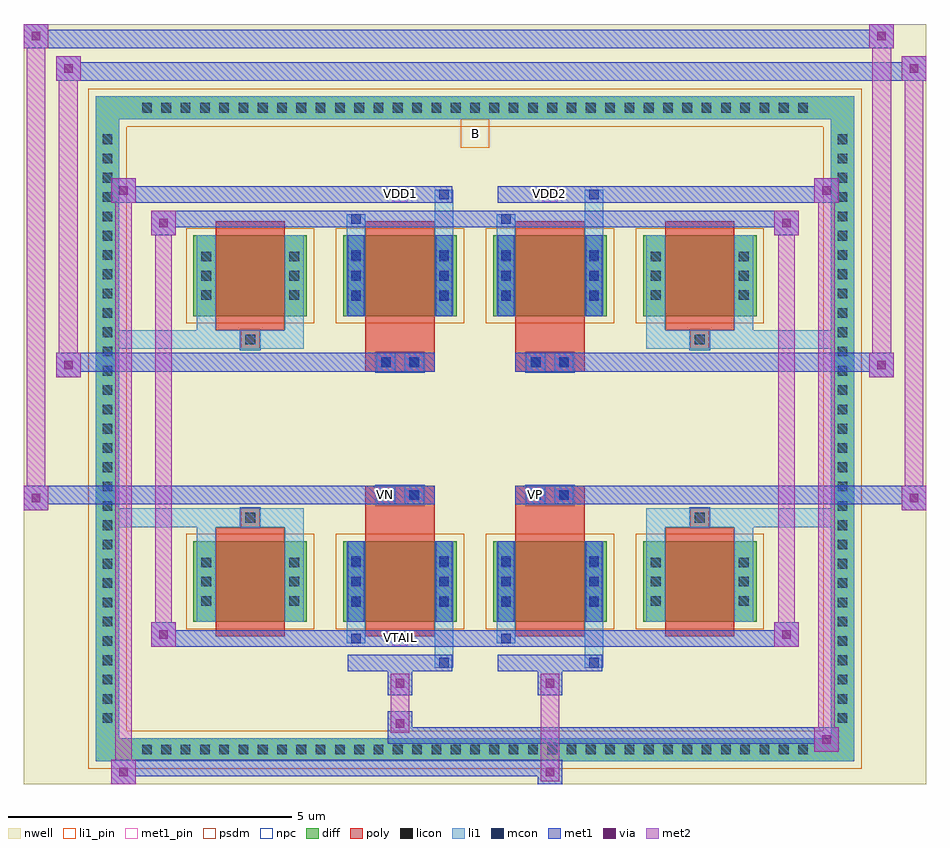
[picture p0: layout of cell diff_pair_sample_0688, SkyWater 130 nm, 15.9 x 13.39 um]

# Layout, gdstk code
import gdstk
lib = gdstk.Library(unit=1e-6, precision=5e-09)
def R(c, l, rs):  # rectangles x0, y0, x1, y1
    for r in rs: c.add(gdstk.rectangle(r[:2], r[2:], *l))
def A(c, l, x, y, w, h, nx, ny, dx, dy):  # array of equal rectangles
    R(c, l, [(x+i*dx, y+j*dy, x+i*dx+w, y+j*dy+h) for i in range(nx) for j in range(ny)])
def P(c, l, *ps):  # polygons
    for p in ps: c.add(gdstk.Polygon(p, *l))
nwell = (64, 20)
diff = (65, 20)
poly = (66, 20)
licon = (66, 44)
li1_pin = (67, 16)
li1 = (67, 20)
mcon = (67, 44)
met1_pin = (68, 16)
met1 = (68, 20)
via = (68, 44)
met2 = (69, 20)
psdm = (94, 20)
npc = (95, 20)

diff_pair_sample_0688 = lib.new_cell('diff_pair_sample_0688')
R(diff_pair_sample_0688, nwell, [(-7.95,-6.26,7.95,7.13), (-5.27,-4.45,-0.01,-0.805), (0.01,-4.45,5.27,-0.805), (-5.27,0.805,-0.01,4.45), (0.01,0.805,5.27,4.45)])
A(diff_pair_sample_0688, diff, -5.985, -5.86, 0.41, 0.41, 35, 2, 0.34, 11.31)
A(diff_pair_sample_0688, diff, -6.68, -5.305, 0.41, 0.41, 1, 31, 0, 0.34)
A(diff_pair_sample_0688, diff, 6.27, -5.305, 0.41, 0.41, 1, 31, 0, 0.34)
A(diff_pair_sample_0688, diff, -4.96, -3.405, 2, 1.42, 4, 2, 2.64, 5.39)
R(diff_pair_sample_0688, diff, [(-5.985,-5.86,5.985,-5.45), (-6.68,-5.305,-6.27,5.305), (6.27,-5.305,6.68,5.305), (-5.985,5.45,5.985,5.86)])
P(diff_pair_sample_0688, diff, [(6.68,5.86),(-6.68,5.86),(-6.68,-5.45),(-6.27,-5.45),(-6.27,5.45),(6.27,5.45),(6.27,-5.45),(-6.27,-5.45),(-6.68,-5.45),(-6.68,-5.86),(6.68,-5.86)])
A(diff_pair_sample_0688, poly, -4.57, -3.655, 1.22, 1.92, 4, 2, 2.64, 5.39)
R(diff_pair_sample_0688, poly, [(-4.125,-1.735,-3.795,-1.405), (-4.125,-1.735,-3.795,-1.405), (-1.93,-1.735,-0.71,-1.335), (0.71,-1.735,1.93,-1.335), (3.795,-1.735,4.125,-1.405), (3.795,-1.735,4.125,-1.405), (-1.93,-1.335,-0.71,-1.005), (-1.735,-1.335,-1.405,-1.005), (-1.235,-1.335,-0.905,-1.005), (0.71,-1.335,1.93,-1.005), (0.905,-1.335,1.235,-1.005), (1.405,-1.335,1.735,-1.005), (-1.93,1.005,-0.71,1.335), (-1.735,1.005,-1.405,1.335), (-1.235,1.005,-0.905,1.335), (0.71,1.005,1.93,1.335), (0.905,1.005,1.235,1.335), (1.405,1.005,1.735,1.335), (-1.93,1.335,-0.71,1.735), (0.71,1.335,1.93,1.735), (-4.125,1.405,-3.795,1.735), (-4.125,1.405,-3.795,1.735), (3.795,1.405,4.125,1.735), (3.795,1.405,4.125,1.735)])
A(diff_pair_sample_0688, licon, -5.865, -5.74, 0.17, 0.17, 35, 2, 0.34, 11.31)
A(diff_pair_sample_0688, licon, -6.56, -5.185, 0.17, 0.17, 1, 31, 0, 0.34)
A(diff_pair_sample_0688, licon, 6.39, -5.185, 0.17, 0.17, 1, 31, 0, 0.34)
A(diff_pair_sample_0688, licon, -4.82, -3.12, 0.17, 0.17, 1, 3, 0, 0.34)
A(diff_pair_sample_0688, licon, -3.27, -3.12, 0.17, 0.17, 1, 3, 0, 0.34)
A(diff_pair_sample_0688, licon, -2.18, -3.12, 0.17, 0.17, 1, 3, 0, 0.34)
A(diff_pair_sample_0688, licon, -0.63, -3.12, 0.17, 0.17, 1, 3, 0, 0.34)
A(diff_pair_sample_0688, licon, 0.46, -3.12, 0.17, 0.17, 1, 3, 0, 0.34)
A(diff_pair_sample_0688, licon, 2.01, -3.12, 0.17, 0.17, 1, 3, 0, 0.34)
A(diff_pair_sample_0688, licon, 3.1, -3.12, 0.17, 0.17, 1, 3, 0, 0.34)
A(diff_pair_sample_0688, licon, 4.65, -3.12, 0.17, 0.17, 1, 3, 0, 0.34)
A(diff_pair_sample_0688, licon, -4.82, 2.27, 0.17, 0.17, 1, 3, 0, 0.34)
A(diff_pair_sample_0688, licon, -3.27, 2.27, 0.17, 0.17, 1, 3, 0, 0.34)
A(diff_pair_sample_0688, licon, -2.18, 2.27, 0.17, 0.17, 1, 3, 0, 0.34)
A(diff_pair_sample_0688, licon, -0.63, 2.27, 0.17, 0.17, 1, 3, 0, 0.34)
A(diff_pair_sample_0688, licon, 0.46, 2.27, 0.17, 0.17, 1, 3, 0, 0.34)
A(diff_pair_sample_0688, licon, 2.01, 2.27, 0.17, 0.17, 1, 3, 0, 0.34)
A(diff_pair_sample_0688, licon, 3.1, 2.27, 0.17, 0.17, 1, 3, 0, 0.34)
A(diff_pair_sample_0688, licon, 4.65, 2.27, 0.17, 0.17, 1, 3, 0, 0.34)
R(diff_pair_sample_0688, licon, [(-4.045,-1.655,-3.875,-1.485), (3.875,-1.655,4.045,-1.485), (-1.655,-1.255,-1.485,-1.085), (-1.155,-1.255,-0.985,-1.085), (0.985,-1.255,1.155,-1.085), (1.485,-1.255,1.655,-1.085), (-1.655,1.085,-1.485,1.255), (-1.155,1.085,-0.985,1.255), (0.985,1.085,1.155,1.255), (1.485,1.085,1.655,1.255), (-4.045,1.485,-3.875,1.655), (3.875,1.485,4.045,1.655)])
R(diff_pair_sample_0688, li1_pin, [(-0.25,4.95,0.25,5.45)])
A(diff_pair_sample_0688, li1, -5.945, -5.82, 0.33, 0.33, 35, 2, 0.34, 11.31)
A(diff_pair_sample_0688, li1, -6.64, -5.265, 0.33, 0.33, 1, 31, 0, 0.34)
A(diff_pair_sample_0688, li1, 6.31, -5.265, 0.33, 0.33, 1, 31, 0, 0.34)
A(diff_pair_sample_0688, li1, -4.9, -3.2, 0.33, 0.33, 1, 3, 0, 0.34)
A(diff_pair_sample_0688, li1, -3.35, -3.2, 0.33, 0.33, 1, 3, 0, 0.34)
A(diff_pair_sample_0688, li1, -2.26, -3.2, 0.33, 0.33, 1, 3, 0, 0.34)
A(diff_pair_sample_0688, li1, -0.71, -3.2, 0.33, 0.33, 1, 3, 0, 0.34)
A(diff_pair_sample_0688, li1, 0.38, -3.2, 0.33, 0.33, 1, 3, 0, 0.34)
A(diff_pair_sample_0688, li1, 1.93, -3.2, 0.33, 0.33, 1, 3, 0, 0.34)
A(diff_pair_sample_0688, li1, 3.02, -3.2, 0.33, 0.33, 1, 3, 0, 0.34)
A(diff_pair_sample_0688, li1, 4.57, -3.2, 0.33, 0.33, 1, 3, 0, 0.34)
A(diff_pair_sample_0688, li1, -2.18, -3.14, 0.17, 0.17, 1, 3, 0, 0.36)
A(diff_pair_sample_0688, li1, -0.63, -3.14, 0.17, 0.17, 1, 3, 0, 0.36)
A(diff_pair_sample_0688, li1, 0.46, -3.14, 0.17, 0.17, 1, 3, 0, 0.36)
A(diff_pair_sample_0688, li1, 2.01, -3.14, 0.17, 0.17, 1, 3, 0, 0.36)
A(diff_pair_sample_0688, li1, -4.9, 2.19, 0.33, 0.33, 1, 3, 0, 0.34)
A(diff_pair_sample_0688, li1, -3.35, 2.19, 0.33, 0.33, 1, 3, 0, 0.34)
A(diff_pair_sample_0688, li1, -2.26, 2.19, 0.33, 0.33, 1, 3, 0, 0.34)
A(diff_pair_sample_0688, li1, -0.71, 2.19, 0.33, 0.33, 1, 3, 0, 0.34)
A(diff_pair_sample_0688, li1, 0.38, 2.19, 0.33, 0.33, 1, 3, 0, 0.34)
A(diff_pair_sample_0688, li1, 1.93, 2.19, 0.33, 0.33, 1, 3, 0, 0.34)
A(diff_pair_sample_0688, li1, 3.02, 2.19, 0.33, 0.33, 1, 3, 0, 0.34)
A(diff_pair_sample_0688, li1, 4.57, 2.19, 0.33, 0.33, 1, 3, 0, 0.34)
A(diff_pair_sample_0688, li1, -2.18, 2.25, 0.17, 0.17, 1, 3, 0, 0.36)
A(diff_pair_sample_0688, li1, -0.63, 2.25, 0.17, 0.17, 1, 3, 0, 0.36)
A(diff_pair_sample_0688, li1, 0.46, 2.25, 0.17, 0.17, 1, 3, 0, 0.36)
A(diff_pair_sample_0688, li1, 2.01, 2.25, 0.17, 0.17, 1, 3, 0, 0.36)
R(diff_pair_sample_0688, li1, [(-6.68,-5.86,-6.27,-5.45), (-6.68,-5.86,-6.27,-5.45), (-6.27,-5.86,6.27,-5.45), (6.27,-5.86,6.68,-5.45), (6.27,-5.86,6.68,-5.45), (-6.68,-5.45,-6.27,5.45), (6.27,-5.45,6.68,5.45), (-0.71,-4.21,-0.38,-3.405), (-0.63,-4.21,-0.46,-4.04), (1.93,-4.21,2.26,-3.405), (2.01,-4.21,2.18,-4.04), (-2.26,-3.78,-1.93,-3.405), (-2.18,-3.78,-2.01,-3.61), (0.38,-3.78,0.71,-3.405), (0.46,-3.78,0.63,-3.61), (-4.9,-3.405,-4.57,-1.985), (-3.35,-3.405,-3.02,-1.985), (-2.26,-3.405,-1.93,-1.985), (-0.71,-3.405,-0.38,-1.985), (0.38,-3.405,0.71,-1.985), (1.93,-3.405,2.26,-1.985), (3.02,-3.405,3.35,-1.985), (4.57,-3.405,4.9,-1.985), (-2.18,-3.14,-2.01,-2.25), (-0.63,-3.14,-0.46,-2.25), (0.46,-3.14,0.63,-2.25), (2.01,-3.14,2.18,-2.25), (-4.9,-1.985,-4.57,-1.405), (-3.35,-1.985,-3.02,-1.405), (3.02,-1.985,3.35,-1.405), (4.57,-1.985,4.9,-1.405), (-6.68,-1.735,-4.125,-1.405), (-4.9,-1.735,-4.125,-1.405), (-4.125,-1.735,-3.795,-1.405), (-3.795,-1.735,-3.02,-1.405), (3.02,-1.735,3.795,-1.405), (3.795,-1.735,4.125,-1.405), (3.795,-1.735,6.68,-1.405), (4.125,-1.735,4.9,-1.405), (-1.735,-1.335,-1.405,-1.005), (-1.235,-1.335,-0.905,-1.005), (0.905,-1.335,1.235,-1.005), (1.405,-1.335,1.735,-1.005), (-1.735,1.005,-1.405,1.335), (-1.235,1.005,-0.905,1.335), (0.905,1.005,1.235,1.335), (1.405,1.005,1.735,1.335), (-6.68,1.405,-4.125,1.735), (-4.9,1.405,-4.125,1.735), (-4.9,1.405,-4.57,1.985), (-4.125,1.405,-3.795,1.735), (-3.795,1.405,-3.02,1.735), (-3.35,1.405,-3.02,1.985), (3.02,1.405,3.795,1.735), (3.02,1.405,3.35,1.985), (3.795,1.405,4.125,1.735), (3.795,1.405,6.68,1.735), (4.125,1.405,4.9,1.735), (4.57,1.405,4.9,1.985), (-4.9,1.985,-4.57,3.405), (-3.35,1.985,-3.02,3.405), (-2.26,1.985,-1.93,3.405), (-0.71,1.985,-0.38,3.405), (0.38,1.985,0.71,3.405), (1.93,1.985,2.26,3.405), (3.02,1.985,3.35,3.405), (4.57,1.985,4.9,3.405), (-2.18,2.25,-2.01,3.14), (-0.63,2.25,-0.46,3.14), (0.46,2.25,0.63,3.14), (2.01,2.25,2.18,3.14), (-2.26,3.405,-1.93,3.78), (-0.71,3.405,-0.38,4.21), (0.38,3.405,0.71,3.78), (1.93,3.405,2.26,4.21), (-2.18,3.61,-2.01,3.78), (0.46,3.61,0.63,3.78), (-0.63,4.04,-0.46,4.21), (2.01,4.04,2.18,4.21), (-6.68,5.45,-6.27,5.86), (-6.68,5.45,-6.27,5.86), (-6.27,5.45,6.27,5.86), (6.27,5.45,6.68,5.86), (6.27,5.45,6.68,5.86)])
A(diff_pair_sample_0688, mcon, -2.18, -3.14, 0.17, 0.17, 1, 3, 0, 0.36)
A(diff_pair_sample_0688, mcon, -0.63, -3.14, 0.17, 0.17, 1, 3, 0, 0.36)
A(diff_pair_sample_0688, mcon, 0.46, -3.14, 0.17, 0.17, 1, 3, 0, 0.36)
A(diff_pair_sample_0688, mcon, 2.01, -3.14, 0.17, 0.17, 1, 3, 0, 0.36)
A(diff_pair_sample_0688, mcon, -2.18, 2.25, 0.17, 0.17, 1, 3, 0, 0.36)
A(diff_pair_sample_0688, mcon, -0.63, 2.25, 0.17, 0.17, 1, 3, 0, 0.36)
A(diff_pair_sample_0688, mcon, 0.46, 2.25, 0.17, 0.17, 1, 3, 0, 0.36)
A(diff_pair_sample_0688, mcon, 2.01, 2.25, 0.17, 0.17, 1, 3, 0, 0.36)
R(diff_pair_sample_0688, mcon, [(-0.63,-4.21,-0.46,-4.04), (2.01,-4.21,2.18,-4.04), (-2.18,-3.78,-2.01,-3.61), (0.46,-3.78,0.63,-3.61), (-1.655,-1.255,-1.485,-1.085), (-1.155,-1.255,-0.985,-1.085), (0.985,-1.255,1.155,-1.085), (1.485,-1.255,1.655,-1.085), (-1.655,1.085,-1.485,1.255), (-1.155,1.085,-0.985,1.255), (0.985,1.085,1.155,1.255), (1.485,1.085,1.655,1.255), (-2.18,3.61,-2.01,3.78), (0.46,3.61,0.63,3.78), (-0.63,4.04,-0.46,4.21), (2.01,4.04,2.18,4.21)])
R(diff_pair_sample_0688, met1_pin, [(-1.455,-3.82,-1.185,-3.55), (-1.705,-1.295,-1.435,-1.025), (0.935,-1.295,1.205,-1.025), (-1.455,4,-1.185,4.27), (1.185,4,1.455,4.27)])
A(diff_pair_sample_0688, met1, -2.24, -3.2, 0.29, 0.29, 1, 3, 0, 0.36)
A(diff_pair_sample_0688, met1, -0.69, -3.2, 0.29, 0.29, 1, 3, 0, 0.36)
A(diff_pair_sample_0688, met1, 0.4, -3.2, 0.29, 0.29, 1, 3, 0, 0.36)
A(diff_pair_sample_0688, met1, 1.95, -3.2, 0.29, 0.29, 1, 3, 0, 0.36)
A(diff_pair_sample_0688, met1, -2.24, 2.19, 0.29, 0.29, 1, 3, 0, 0.36)
A(diff_pair_sample_0688, met1, -0.69, 2.19, 0.29, 0.29, 1, 3, 0, 0.36)
A(diff_pair_sample_0688, met1, 0.4, 2.19, 0.29, 0.29, 1, 3, 0, 0.36)
A(diff_pair_sample_0688, met1, 1.95, 2.19, 0.29, 0.29, 1, 3, 0, 0.36)
R(diff_pair_sample_0688, met1, [(-6.41,-6.26,-5.98,-5.83), (1.105,-6.26,1.535,-5.83), (-6.41,-6.12,1.535,-5.83), (5.98,-5.69,6.41,-5.26), (-1.535,-5.55,6.41,-5.26), (-1.535,-5.41,-1.105,-4.98), (-1.535,-4.7,-1.105,-4.27), (1.105,-4.7,1.535,-4.27), (-2.24,-4.27,-0.4,-3.98), (-0.69,-4.27,-0.4,-3.98), (0.4,-4.27,2.24,-3.98), (1.95,-4.27,2.24,-3.98), (-5.7,-3.84,-5.27,-3.41), (-5.7,-3.84,-2.24,-3.55), (-2.24,-3.84,-1.95,-3.55), (-2.24,-3.84,-0.4,-3.55), (-0.4,-3.84,0.4,-3.55), (0.4,-3.84,0.69,-3.55), (0.4,-3.84,2.24,-3.55), (2.24,-3.84,5.7,-3.55), (5.27,-3.84,5.7,-3.41), (-2.24,-3.405,-1.95,-1.985), (-0.69,-3.405,-0.4,-1.985), (0.4,-3.405,0.69,-1.985), (1.95,-3.405,2.24,-1.985), (-7.95,-1.435,-7.52,-1.005), (7.52,-1.435,7.95,-1.005), (-7.95,-1.335,-0.71,-1.005), (-1.93,-1.335,-0.71,-1.005), (0.71,-1.335,1.93,-1.005), (0.71,-1.335,7.95,-1.005), (-1.715,-1.315,-1.425,-1.025), (-1.215,-1.315,-0.925,-1.025), (0.925,-1.315,1.215,-1.025), (1.425,-1.315,1.715,-1.025), (-7.38,0.905,-6.95,1.335), (6.95,0.905,7.38,1.335), (-7.38,1.005,-1.93,1.335), (-1.93,1.005,-0.71,1.335), (0.71,1.005,1.93,1.335), (1.93,1.005,7.38,1.335), (-1.715,1.025,-1.425,1.315), (-1.215,1.025,-0.925,1.315), (0.925,1.025,1.215,1.315), (1.425,1.025,1.715,1.315), (-2.24,1.985,-1.95,3.405), (-0.69,1.985,-0.4,3.405), (0.4,1.985,0.69,3.405), (1.95,1.985,2.24,3.405), (-5.7,3.41,-5.27,3.84), (5.27,3.41,5.7,3.84), (-5.7,3.55,-2.24,3.84), (-2.24,3.55,-1.95,3.84), (-2.24,3.55,-0.4,3.84), (-0.4,3.55,0.4,3.84), (0.4,3.55,0.69,3.84), (0.4,3.55,2.24,3.84), (2.24,3.55,5.7,3.84), (-6.41,3.98,-5.98,4.41), (-6.41,3.98,-2.24,4.27), (-2.24,3.98,-0.4,4.27), (-0.69,3.98,-0.4,4.27), (0.4,3.98,2.24,4.27), (1.95,3.98,2.24,4.27), (2.24,3.98,6.41,4.27), (5.98,3.98,6.41,4.41), (-7.38,6.13,-6.95,6.56), (-7.38,6.13,-5.27,6.46), (-5.27,6.13,5.27,6.46), (5.27,6.13,7.95,6.46), (7.52,6.13,7.95,6.56), (-7.95,6.7,-7.52,7.13), (-7.95,6.7,-5.27,7.03), (-5.27,6.7,5.27,7.03), (5.27,6.7,7.38,7.03), (6.95,6.7,7.38,7.13)])
R(diff_pair_sample_0688, via, [(-6.27,-6.12,-6.12,-5.97), (1.245,-6.12,1.395,-5.97), (6.12,-5.55,6.27,-5.4), (-1.395,-5.27,-1.245,-5.12), (-1.395,-4.56,-1.245,-4.41), (1.245,-4.56,1.395,-4.41), (-5.56,-3.7,-5.41,-3.55), (5.41,-3.7,5.56,-3.55), (-7.81,-1.295,-7.66,-1.145), (7.66,-1.295,7.81,-1.145), (-7.24,1.045,-7.09,1.195), (7.09,1.045,7.24,1.195), (-5.56,3.55,-5.41,3.7), (5.41,3.55,5.56,3.7), (-6.27,4.12,-6.12,4.27), (6.12,4.12,6.27,4.27), (-7.24,6.27,-7.09,6.42), (7.66,6.27,7.81,6.42), (-7.81,6.84,-7.66,6.99), (7.09,6.84,7.24,6.99)])
R(diff_pair_sample_0688, met2, [(-6.41,-6.26,-5.98,-5.83), (-6.34,-6.26,-6.05,4.41), (-6.05,-6.26,-5.98,-5.83), (-6.36,-6.21,-6.03,-5.88), (1.155,-6.21,1.485,-5.88), (1.155,-5.88,1.485,-4.65), (5.98,-5.69,6.41,-5.26), (6.05,-5.69,6.34,4.41), (6.34,-5.69,6.41,-5.26), (6.03,-5.64,6.36,-5.31), (-1.485,-5.36,-1.155,-5.03), (-1.485,-5.03,-1.155,-4.65), (-1.485,-4.65,-1.155,-4.32), (1.155,-4.65,1.485,-4.32), (-5.7,-3.84,-5.27,-3.41), (-5.63,-3.84,-5.34,3.84), (-5.34,-3.84,-5.27,-3.41), (5.27,-3.84,5.7,-3.41), (5.34,-3.84,5.63,3.84), (5.63,-3.84,5.7,-3.41), (-5.65,-3.79,-5.32,-3.46), (5.32,-3.79,5.65,-3.46), (-7.95,-1.435,-7.52,-1.005), (-7.9,-1.435,-7.57,7.13), (-7.57,-1.435,-7.52,-1.005), (7.52,-1.435,7.95,-1.005), (7.57,-1.435,7.9,6.56), (7.9,-1.435,7.95,-1.005), (-7.9,-1.385,-7.57,-1.055), (7.57,-1.385,7.9,-1.055), (-7.38,0.905,-6.95,1.335), (-7.33,0.905,-7,6.56), (-7,0.905,-6.95,1.335), (6.95,0.905,7.38,1.335), (7,0.905,7.33,7.13), (7.33,0.905,7.38,1.335), (-7.33,0.955,-7,1.285), (7,0.955,7.33,1.285), (-5.7,3.41,-5.27,3.84), (-5.34,3.41,-5.27,3.84), (5.27,3.41,5.7,3.84), (5.63,3.41,5.7,3.84), (-5.65,3.46,-5.32,3.79), (5.32,3.46,5.65,3.79), (-6.41,3.98,-5.98,4.41), (-6.05,3.98,-5.98,4.41), (5.98,3.98,6.41,4.41), (6.34,3.98,6.41,4.41), (-6.36,4.03,-6.03,4.36), (6.03,4.03,6.36,4.36), (-7.38,6.13,-6.95,6.56), (-7,6.13,-6.95,6.56), (7.52,6.13,7.95,6.56), (7.9,6.13,7.95,6.56), (-7.33,6.18,-7,6.51), (7.57,6.18,7.9,6.51), (-7.95,6.7,-7.52,7.13), (-7.57,6.7,-7.52,7.13), (6.95,6.7,7.38,7.13), (7.33,6.7,7.38,7.13), (-7.9,6.75,-7.57,7.08), (7,6.75,7.33,7.08)])
A(diff_pair_sample_0688, psdm, -5.09, -3.535, 2.26, 1.68, 4, 2, 2.64, 5.39)
P(diff_pair_sample_0688, psdm, [(6.81,5.99),(-6.81,5.99),(-6.81,-5.32),(-6.14,-5.32),(-6.14,5.32),(6.14,5.32),(6.14,-5.32),(-6.14,-5.32),(-6.81,-5.32),(-6.81,-5.99),(6.81,-5.99)])
R(diff_pair_sample_0688, npc, [(-4.145,-1.755,-3.775,-1.385), (3.775,-1.755,4.145,-1.385), (-1.755,-1.355,-1.385,-0.985), (-1.755,-1.355,-0.885,-0.985), (-1.755,-1.355,-0.885,-0.985), (-1.255,-1.355,-0.885,-0.985), (0.885,-1.355,1.255,-0.985), (0.885,-1.355,1.755,-0.985), (0.885,-1.355,1.755,-0.985), (1.385,-1.355,1.755,-0.985), (-1.755,0.985,-1.385,1.355), (-1.755,0.985,-0.885,1.355), (-1.755,0.985,-0.885,1.355), (-1.255,0.985,-0.885,1.355), (0.885,0.985,1.255,1.355), (0.885,0.985,1.755,1.355), (0.885,0.985,1.755,1.355), (1.385,0.985,1.755,1.355), (-4.145,1.385,-3.775,1.755), (3.775,1.385,4.145,1.755)])
diff_pair_sample_0688.add(gdstk.Label('VTAIL', (-1.32,-3.685), layer=68, texttype=5))
diff_pair_sample_0688.add(gdstk.Label('VN', (-1.57,-1.16), layer=68, texttype=5))
diff_pair_sample_0688.add(gdstk.Label('VP', (1.07,-1.16), layer=68, texttype=5))
diff_pair_sample_0688.add(gdstk.Label('B', (0,5.2), layer=67, texttype=5))
diff_pair_sample_0688.add(gdstk.Label('VDD2', (1.32,4.135), layer=68, texttype=5))
diff_pair_sample_0688.add(gdstk.Label('VDD1', (-1.32,4.135), layer=68, texttype=5))

lib.write_gds('diff_pair_sample_0688.gds')
